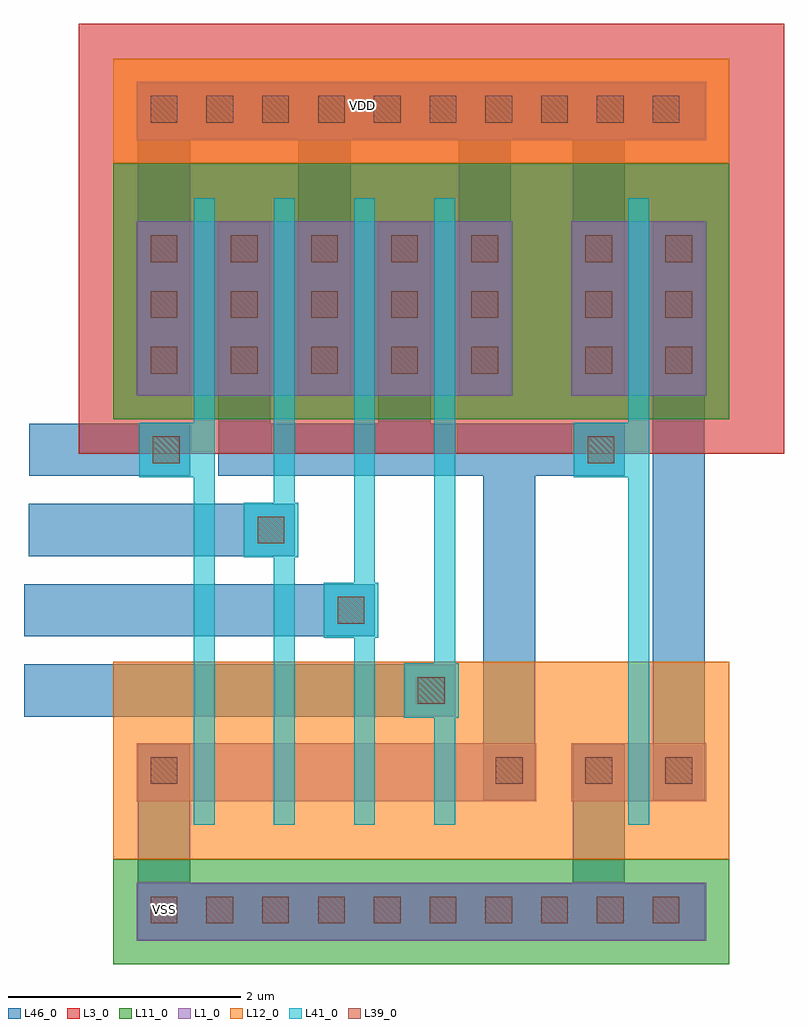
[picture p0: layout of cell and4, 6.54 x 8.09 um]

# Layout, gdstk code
import gdstk
lib = gdstk.Library(unit=1e-6, precision=1e-09)
def R(c, l, rs):  # rectangles x0, y0, x1, y1
    for r in rs: c.add(gdstk.rectangle(r[:2], r[2:], *l))
def A(c, l, x, y, w, h, nx, ny, dx, dy):  # array of equal rectangles
    R(c, l, [(x+i*dx, y+j*dy, x+i*dx+w, y+j*dy+h) for i in range(nx) for j in range(ny)])
L1_0 = (1, 0)
L3_0 = (3, 0)
L11_0 = (11, 0)
L12_0 = (12, 0)
L39_0 = (39, 0)
L41_0 = (41, 0)
L46_0 = (46, 0)

and4 = lib.new_cell('and4')
R(and4, L1_0, [(1.75,0.065,6.65,0.565), (1.75,1.265,5.19,1.765), (5.49,1.265,6.65,1.765), (1.75,4.755,4.98,6.255), (5.49,4.755,6.65,6.255), (1.75,6.956,6.65,7.456)])
R(and4, L3_0, [(1.25,4.255,7.32,7.955)])
R(and4, L11_0, [(1.55,-0.135,6.85,0.765), (1.55,4.555,6.85,6.755)])
R(and4, L12_0, [(1.55,0.765,6.85,2.465), (1.55,6.755,6.85,7.655)])
A(and4, L39_0, 1.87, 0.215, 0.23, 0.23, 10, 2, 0.48, 6.891)
A(and4, L39_0, 1.87, 4.945, 0.23, 0.23, 5, 3, 0.69, 0.48)
A(and4, L39_0, 5.61, 4.945, 0.23, 0.23, 1, 3, 0, 0.48)
A(and4, L39_0, 6.3, 4.945, 0.23, 0.23, 1, 3, 0, 0.48)
R(and4, L39_0, [(1.87,1.415,2.1,1.645), (4.84,1.415,5.07,1.645), (5.61,1.415,5.84,1.645), (6.3,1.415,6.53,1.645), (4.17,2.105,4.4,2.335), (3.48,2.795,3.71,3.025), (2.79,3.485,3.02,3.715), (1.89,4.175,2.12,4.405), (5.63,4.175,5.86,4.405)])
A(and4, L41_0, 2.24, 1.065, 0.18, 5.39, 4, 1, 0.69, 0)
R(and4, L41_0, [(5.98,1.065,6.16,6.455), (4.05,1.985,4.52,2.455), (3.36,2.675,3.83,3.145), (2.67,3.365,3.14,3.835), (1.77,4.055,2.24,4.525), (5.51,4.055,5.98,4.525)])
R(and4, L46_0, [(1.76,0.075,6.64,0.555), (1.76,0.075,2.21,1.755), (5.5,0.075,5.95,1.755), (4.73,1.275,5.18,4.465), (6.19,1.275,6.64,1.755), (6.19,1.31,6.64,6.245), (0.78,1.995,4.49,2.445), (0.78,2.685,3.8,3.135), (0.82,3.375,3.11,3.825), (0.825,4.065,2.21,4.515), (2.45,4.065,2.9,6.245), (2.47,4.065,5.95,4.515), (3.83,4.085,4.28,5.565), (1.76,4.765,2.21,7.445), (3.14,4.765,3.59,6.245), (3.83,4.765,4.28,6.245), (4.52,4.765,4.97,7.445), (5.5,4.765,5.95,7.445), (3.14,5.95,3.59,7.43), (1.76,6.966,6.64,7.446)])
and4.add(gdstk.Label('VSS', (1.985,0.335), layer=101, texttype=0))
and4.add(gdstk.Label('VDD', (3.69,7.255), layer=101, texttype=0))

lib.write_gds('and4.gds')
